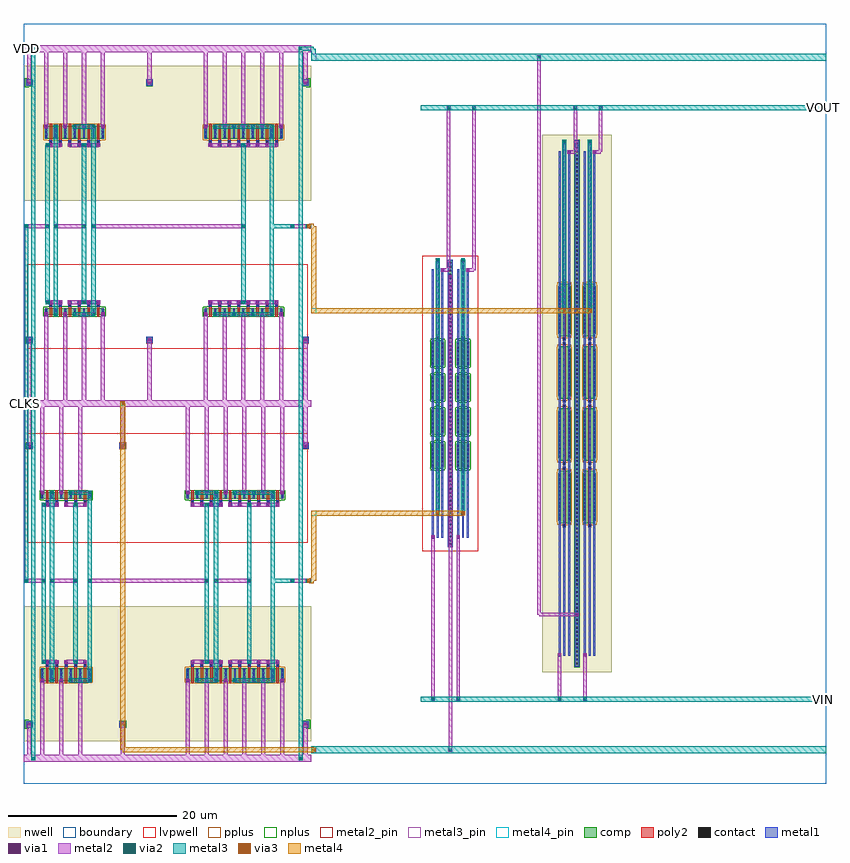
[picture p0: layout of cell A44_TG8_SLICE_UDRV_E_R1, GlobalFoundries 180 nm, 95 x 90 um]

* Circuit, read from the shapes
.subckt A44_TG8_SLICE_UDRV_E_R1 CLKS GND VDD VIN VOUT
XM1 A44_TGCLK_DRIVER_UDRV_E_R1_1/A44_TGDRV_NCLK_ROW_E_R1_0/net1 CLKS GND GND nfet_03v3 w=0.78u l=0.28u m=2
XM2 A44_TGCLK_DRIVER_UDRV_E_R1_1/A44_TGDRV_PCLK_ROW_E_R1_1/net4 CLKS GND GND nfet_03v3 w=0.78u l=0.28u m=2
XM3 A44_TGCLK_DRIVER_UDRV_E_R1_1/A44_TGDRV_NCLK_ROW_E_R1_0/net2 A44_TGCLK_DRIVER_UDRV_E_R1_1/A44_TGDRV_NCLK_ROW_E_R1_0/net1 GND GND nfet_03v3 w=0.78u l=0.28u m=3
XM4 A44_TGCLK_DRIVER_UDRV_E_R1_1/A44_TGDRV_PCLK_ROW_E_R1_1/net5 A44_TGCLK_DRIVER_UDRV_E_R1_1/A44_TGDRV_PCLK_ROW_E_R1_1/net4 GND GND nfet_03v3 w=0.78u l=0.28u m=4
XM5 A44_TGCLK_DRIVER_UDRV_E_R1_1/A44_TGDRV_NCLK_ROW_E_R1_0/net3 A44_TGCLK_DRIVER_UDRV_E_R1_1/A44_TGDRV_NCLK_ROW_E_R1_0/net2 GND GND nfet_03v3 w=0.78u l=0.28u m=4
XM6 A44_TG8_CORE_R7_0/P_CLK A44_TGCLK_DRIVER_UDRV_E_R1_1/A44_TGDRV_PCLK_ROW_E_R1_1/net5 GND GND nfet_03v3 w=0.78u l=0.28u m=8
XM7 A44_TG8_CORE_R7_0/N_CLK A44_TGCLK_DRIVER_UDRV_E_R1_1/A44_TGDRV_NCLK_ROW_E_R1_0/net3 GND GND nfet_03v3 w=0.78u l=0.28u m=6
XM8 VOUT A44_TG8_CORE_R7_0/N_CLK VIN GND nfet_03v3 w=3.11u l=0.28u m=8
XM9 A44_TGCLK_DRIVER_UDRV_E_R1_1/A44_TGDRV_NCLK_ROW_E_R1_0/net1 CLKS VDD VDD pfet_03v3 w=1.56u l=0.28u m=2
XM10 A44_TGCLK_DRIVER_UDRV_E_R1_1/A44_TGDRV_PCLK_ROW_E_R1_1/net4 CLKS VDD VDD pfet_03v3 w=1.56u l=0.28u m=2
XM11 A44_TGCLK_DRIVER_UDRV_E_R1_1/A44_TGDRV_NCLK_ROW_E_R1_0/net2 A44_TGCLK_DRIVER_UDRV_E_R1_1/A44_TGDRV_NCLK_ROW_E_R1_0/net1 VDD VDD pfet_03v3 w=1.56u l=0.28u m=3
XM12 A44_TGCLK_DRIVER_UDRV_E_R1_1/A44_TGDRV_PCLK_ROW_E_R1_1/net5 A44_TGCLK_DRIVER_UDRV_E_R1_1/A44_TGDRV_PCLK_ROW_E_R1_1/net4 VDD VDD pfet_03v3 w=1.56u l=0.28u m=4
XM13 A44_TGCLK_DRIVER_UDRV_E_R1_1/A44_TGDRV_NCLK_ROW_E_R1_0/net3 A44_TGCLK_DRIVER_UDRV_E_R1_1/A44_TGDRV_NCLK_ROW_E_R1_0/net2 VDD VDD pfet_03v3 w=1.56u l=0.28u m=4
XM14 A44_TG8_CORE_R7_0/P_CLK A44_TGCLK_DRIVER_UDRV_E_R1_1/A44_TGDRV_PCLK_ROW_E_R1_1/net5 VDD VDD pfet_03v3 w=1.56u l=0.28u m=8
XM15 A44_TG8_CORE_R7_0/N_CLK A44_TGCLK_DRIVER_UDRV_E_R1_1/A44_TGDRV_NCLK_ROW_E_R1_0/net3 VDD VDD pfet_03v3 w=1.56u l=0.28u m=6
XM16 VOUT A44_TG8_CORE_R7_0/P_CLK VIN VDD pfet_03v3 w=6.22u l=0.28u m=8
.ends

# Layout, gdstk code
import gdstk
lib = gdstk.Library(unit=1e-6, precision=1e-09)
def R(c, l, rs):  # rectangles x0, y0, x1, y1
    for r in rs: c.add(gdstk.rectangle(r[:2], r[2:], *l))
def A(c, l, x, y, w, h, nx, ny, dx, dy):  # array of equal rectangles
    R(c, l, [(x+i*dx, y+j*dy, x+i*dx+w, y+j*dy+h) for i in range(nx) for j in range(ny)])
boundary = (0, 0)
nwell = (21, 0)
comp = (22, 0)
poly2 = (30, 0)
pplus = (31, 0)
nplus = (32, 0)
contact = (33, 0)
metal1 = (34, 0)
via1 = (35, 0)
metal2 = (36, 0)
metal2_pin = (36, 10)
via2 = (38, 0)
via3 = (40, 0)
metal3 = (42, 0)
metal3_pin = (42, 10)
metal4 = (46, 0)
metal4_pin = (46, 10)
lvpwell = (204, 0)

pfet_03v3_c2l3t7 = lib.new_cell('pfet_03v3_C2L3T7')
R(pfet_03v3_c2l3t7, nwell, [(-1.17,-15.07,1.17,15.07)])
A(pfet_03v3_c2l3t7, comp, -0.74, -13.875, 1.48, 5.61, 1, 4, 0, 7.38)
R(pfet_03v3_c2l3t7, comp, [(-0.675,-14.18,0.675,-13.875), (-0.675,-8.265,0.675,-7.96), (-0.675,-6.8,0.675,-6.495), (-0.675,-0.885,0.675,-0.58), (-0.675,0.58,0.675,0.885), (-0.675,6.495,0.675,6.8), (-0.675,7.96,0.675,8.265), (-0.675,13.875,0.675,14.18)])
A(pfet_03v3_c2l3t7, poly2, -0.14, -14.28, 0.28, 6.42, 1, 4, 0, 7.38)
R(pfet_03v3_c2l3t7, poly2, [(-0.18,-14.64,0.18,-14.28), (-0.18,-7.86,0.18,-7.5), (-0.18,-7.26,0.18,-6.9), (-0.18,-0.48,0.18,-0.12), (-0.18,0.12,0.18,0.48), (-0.18,6.9,0.18,7.26), (-0.18,7.5,0.18,7.86), (-0.18,14.28,0.18,14.64)])
A(pfet_03v3_c2l3t7, pplus, -0.9, -14.035, 1.8, 5.93, 1, 4, 0, 7.38)
R(pfet_03v3_c2l3t7, pplus, [(-0.37,-14.41,0.37,-14.34), (-0.835,-14.34,0.835,-14.035), (-0.835,-8.105,0.835,-7.8), (-0.37,-7.8,0.37,-7.73), (-0.37,-7.03,0.37,-6.96), (-0.835,-6.96,0.835,-6.655), (-0.835,-0.725,0.835,-0.42), (-0.37,-0.42,0.37,-0.35), (-0.37,0.35,0.37,0.42), (-0.835,0.42,0.835,0.725), (-0.835,6.655,0.835,6.96), (-0.37,6.96,0.37,7.03), (-0.37,7.73,0.37,7.8), (-0.835,7.8,0.835,8.105), (-0.835,14.035,0.835,14.34), (-0.37,14.34,0.37,14.41)])
A(pfet_03v3_c2l3t7, contact, -0.67, -13.765, 0.22, 0.22, 1, 12, 0, 0.47)
A(pfet_03v3_c2l3t7, contact, 0.45, -13.765, 0.22, 0.22, 1, 12, 0, 0.47)
A(pfet_03v3_c2l3t7, contact, -0.67, -6.385, 0.22, 0.22, 1, 12, 0, 0.47)
A(pfet_03v3_c2l3t7, contact, 0.45, -6.385, 0.22, 0.22, 1, 12, 0, 0.47)
A(pfet_03v3_c2l3t7, contact, -0.67, 0.995, 0.22, 0.22, 1, 12, 0, 0.47)
A(pfet_03v3_c2l3t7, contact, 0.45, 0.995, 0.22, 0.22, 1, 12, 0, 0.47)
A(pfet_03v3_c2l3t7, contact, -0.67, 8.375, 0.22, 0.22, 1, 12, 0, 0.47)
A(pfet_03v3_c2l3t7, contact, 0.45, 8.375, 0.22, 0.22, 1, 12, 0, 0.47)
R(pfet_03v3_c2l3t7, contact, [(-0.11,-14.57,0.11,-14.35), (-0.11,-7.79,0.11,-7.57), (-0.11,-7.19,0.11,-6.97), (-0.11,-0.41,0.11,-0.19), (-0.11,0.19,0.11,0.41), (-0.11,6.97,0.11,7.19), (-0.11,7.57,0.11,7.79), (-0.11,14.35,0.11,14.57)])
A(pfet_03v3_c2l3t7, metal1, -0.675, -13.865, 0.23, 5.59, 1, 4, 0, 7.38)
A(pfet_03v3_c2l3t7, metal1, 0.445, -13.865, 0.23, 5.59, 1, 4, 0, 7.38)
R(pfet_03v3_c2l3t7, metal1, [(-0.17,-14.575,0.17,-14.345), (-0.17,-7.795,0.17,-7.565), (-0.17,-7.195,0.17,-6.965), (-0.17,-0.415,0.17,-0.185), (-0.17,0.185,0.17,0.415), (-0.17,6.965,0.17,7.195), (-0.17,7.565,0.17,7.795), (-0.17,14.345,0.17,14.575)])

nfet_03v3_sd8hjt = lib.new_cell('nfet_03v3_SD8HJT')
A(nfet_03v3_sd8hjt, comp, -0.74, -7.57, 1.48, 2.81, 1, 4, 0, 4.03)
R(nfet_03v3_sd8hjt, comp, [(-0.675,-7.72,0.675,-7.57), (-0.675,-4.76,0.675,-4.61), (-0.675,-3.69,0.675,-3.54), (-0.675,-0.73,0.675,-0.58), (-0.675,0.34,0.675,0.49), (-0.675,3.3,0.675,3.45), (-0.675,4.37,0.675,4.52), (-0.675,7.33,0.675,7.48)])
A(nfet_03v3_sd8hjt, poly2, -0.14, -7.94, 0.28, 3.43, 1, 4, 0, 4.03)
A(nfet_03v3_sd8hjt, poly2, -0.18, -4.51, 0.36, 0.36, 1, 4, 0, 4.03)
A(nfet_03v3_sd8hjt, nplus, -0.9, -7.73, 1.8, 3.13, 1, 4, 0, 4.03)
R(nfet_03v3_sd8hjt, nplus, [(-0.37,-7.95,0.37,-7.88), (-0.835,-7.88,0.835,-7.73), (-0.835,-4.6,0.835,-4.45), (-0.37,-4.45,0.37,-4.38), (-0.37,-3.92,0.37,-3.85), (-0.835,-3.85,0.835,-3.7), (-0.835,-0.57,0.835,-0.42), (-0.37,-0.42,0.37,-0.35), (-0.37,0.11,0.37,0.18), (-0.835,0.18,0.835,0.33), (-0.835,3.46,0.835,3.61), (-0.37,3.61,0.37,3.68), (-0.37,4.14,0.37,4.21), (-0.835,4.21,0.835,4.36), (-0.835,7.49,0.835,7.64), (-0.37,7.64,0.37,7.71)])
A(nfet_03v3_sd8hjt, contact, -0.67, -7.45, 0.22, 0.22, 1, 6, 0, 0.47)
A(nfet_03v3_sd8hjt, contact, 0.45, -7.45, 0.22, 0.22, 1, 6, 0, 0.47)
A(nfet_03v3_sd8hjt, contact, -0.11, -4.44, 0.22, 0.22, 1, 4, 0, 4.03)
A(nfet_03v3_sd8hjt, contact, -0.67, -3.42, 0.22, 0.22, 1, 6, 0, 0.47)
A(nfet_03v3_sd8hjt, contact, 0.45, -3.42, 0.22, 0.22, 1, 6, 0, 0.47)
A(nfet_03v3_sd8hjt, contact, -0.67, 0.61, 0.22, 0.22, 1, 6, 0, 0.47)
A(nfet_03v3_sd8hjt, contact, 0.45, 0.61, 0.22, 0.22, 1, 6, 0, 0.47)
A(nfet_03v3_sd8hjt, contact, -0.67, 4.64, 0.22, 0.22, 1, 6, 0, 0.47)
A(nfet_03v3_sd8hjt, contact, 0.45, 4.64, 0.22, 0.22, 1, 6, 0, 0.47)
A(nfet_03v3_sd8hjt, metal1, -0.675, -7.56, 0.23, 2.79, 1, 4, 0, 4.03)
A(nfet_03v3_sd8hjt, metal1, 0.445, -7.56, 0.23, 2.79, 1, 4, 0, 4.03)
A(nfet_03v3_sd8hjt, metal1, -0.17, -4.445, 0.34, 0.23, 1, 4, 0, 4.03)
R(nfet_03v3_sd8hjt, lvpwell, [(-0.86,-8.06,0.86,8.06)])

a44_tg8_core_r7 = lib.new_cell('A44_TG8_CORE_R7')
R(a44_tg8_core_r7, boundary, [(0,0,61,90)])
R(a44_tg8_core_r7, nwell, [(27.4,13.2,35.6,76.8)])
R(a44_tg8_core_r7, comp, [(31.22,13.8,31.78,76.2), (16.22,28,16.78,62)])
R(a44_tg8_core_r7, pplus, [(16.195,27.975,16.805,62.025)])
R(a44_tg8_core_r7, nplus, [(31.195,13.775,31.805,76.225)])
A(a44_tg8_core_r7, contact, 31.39, 14.105, 0.22, 0.22, 1, 132, 0, 0.47)
A(a44_tg8_core_r7, contact, 16.39, 28.205, 0.22, 0.22, 1, 72, 0, 0.47)
R(a44_tg8_core_r7, metal1, [(31.22,13.8,31.78,76.2), (29.24,15,29.64,15.4), (32.24,15,32.64,15.4), (29.885,15.1,30.115,75.8), (30.445,15.1,30.675,74.6), (32.885,15.1,33.115,75.8), (33.445,15.1,33.675,74.6), (29.325,15.4,29.555,74.9), (32.325,15.4,32.555,74.9), (16.22,28,16.78,62), (14.24,29,14.64,29.4), (17.24,29,17.64,29.4), (14.885,29.1,15.115,61.8), (15.445,29.1,15.675,60.6), (17.885,29.1,18.115,61.8), (18.445,29.1,18.675,60.6), (14.325,29.4,14.555,60.9), (17.325,29.4,17.555,60.9), (15.36,60.6,15.76,61), (18.36,60.6,18.76,61), (14.8,61.8,15.2,62.2), (17.8,61.8,18.2,62.2), (30.36,74.6,30.76,75), (33.36,74.6,33.76,75), (29.8,75.8,30.2,76.2), (32.8,75.8,33.2,76.2)])
R(a44_tg8_core_r7, via1, [(29.31,15.07,29.57,15.33), (32.31,15.07,32.57,15.33), (31.37,19.87,31.63,20.13), (14.31,29.07,14.57,29.33), (17.31,29.07,17.57,29.33), (16.37,59.87,16.63,60.13), (15.43,60.67,15.69,60.93), (18.43,60.67,18.69,60.93), (14.87,61.87,15.13,62.13), (17.87,61.87,18.13,62.13), (30.43,74.67,30.69,74.93), (33.43,74.67,33.69,74.93), (29.87,75.87,30.13,76.13), (32.87,75.87,33.13,76.13)])
R(a44_tg8_core_r7, metal2, [(16.28,3.78,16.72,4.22), (16.3,4.22,16.7,60.2), (14.22,9.78,14.66,10.22), (17.22,9.78,17.66,10.22), (29.22,9.78,29.66,10.22), (32.22,9.78,32.66,10.22), (14.24,10.22,14.64,29.4), (17.24,10.22,17.64,29.4), (29.24,10.22,29.64,15.4), (32.24,10.22,32.64,15.4), (27,19.8,31.7,20), (26.8,20,31.7,20.2), (26.8,20.2,27.2,85.78), (15.36,60.6,16.3,60.8), (18.36,60.6,19.3,60.8), (15.36,60.8,16.5,61), (18.36,60.8,19.5,61), (16.1,61,16.5,79.78), (19.1,61,19.5,79.78), (14.78,61.78,15.22,62.22), (17.78,61.78,18.22,62.22), (30.36,74.6,31.3,74.8), (33.36,74.6,34.3,74.8), (30.36,74.8,31.5,75), (33.36,74.8,34.5,75), (31.1,75,31.5,79.78), (34.1,75,34.5,79.78), (29.78,75.78,30.22,76.22), (32.78,75.78,33.22,76.22), (16.08,79.78,16.52,80.22), (19.08,79.78,19.52,80.22), (31.08,79.78,31.52,80.22), (34.08,79.78,34.52,80.22), (26.78,85.78,27.22,86.22)])
R(a44_tg8_core_r7, via2, [(16.37,3.87,16.63,4.13), (14.31,9.87,14.57,10.13), (17.31,9.87,17.57,10.13), (29.31,9.87,29.57,10.13), (32.31,9.87,32.57,10.13), (14.87,61.87,15.13,62.13), (17.87,61.87,18.13,62.13), (29.87,75.87,30.13,76.13), (32.87,75.87,33.13,76.13), (16.17,79.87,16.43,80.13), (19.17,79.87,19.43,80.13), (31.17,79.87,31.43,80.13), (34.17,79.87,34.43,80.13), (26.87,85.87,27.13,86.13)])
R(a44_tg8_core_r7, via3, [(14.87,31.87,15.13,32.13), (17.87,31.87,18.13,32.13), (29.87,55.87,30.13,56.13), (32.87,55.87,33.13,56.13)])
R(a44_tg8_core_r7, metal3, [(0,3.6,61,4.4), (13,9.7,61,10.3), (14.75,31.75,15.25,62), (17.75,31.75,18.25,62), (29.75,55.75,30.25,76), (32.75,55.75,33.25,76), (14.78,62,15.22,62.22), (17.78,62,18.22,62.22), (29.78,76,30.22,76.22), (32.78,76,33.22,76.22), (13,79.7,61,80.3), (0,85.6,61,86.4)])
R(a44_tg8_core_r7, metal3_pin, [(0,3.6,0.6,4.4), (60.4,9.7,61,10.3), (60.4,79.7,61,80.3), (0,85.6,0.6,86.4)])
R(a44_tg8_core_r7, metal4, [(0,31.7,18,31.75), (0,31.75,18.25,32.25), (0,32.25,18,32.3), (0,55.7,33,55.75), (0,55.75,33.25,56.25), (0,56.25,33,56.3)])
R(a44_tg8_core_r7, metal4_pin, [(0,31.7,0.6,32.3), (0,55.7,0.6,56.3)])
R(a44_tg8_core_r7, lvpwell, [(13.2,27.5,19.8,62.5)])
a44_tg8_core_r7.add(gdstk.Reference(pfet_03v3_c2l3t7, (33,45)))
a44_tg8_core_r7.add(gdstk.Reference(pfet_03v3_c2l3t7, (30,45)))
a44_tg8_core_r7.add(gdstk.Reference(nfet_03v3_sd8hjt, (18,45)))
a44_tg8_core_r7.add(gdstk.Reference(nfet_03v3_sd8hjt, (15,45)))
a44_tg8_core_r7.add(gdstk.Label('VDD', (0.3,86), layer=42, texttype=10))
a44_tg8_core_r7.add(gdstk.Label('GND', (0.3,4), layer=42, texttype=10))
a44_tg8_core_r7.add(gdstk.Label('VOUT', (60.7,80), layer=42, texttype=10))
a44_tg8_core_r7.add(gdstk.Label('VIN', (60.7,10), layer=42, texttype=10))
a44_tg8_core_r7.add(gdstk.Label('N_CLK', (0.3,32), layer=46, texttype=10))
a44_tg8_core_r7.add(gdstk.Label('P_CLK', (0.3,56), layer=46, texttype=10))

pfet_03v3_pucbrs = lib.new_cell('pfet_03v3_PUCBRS')
R(pfet_03v3_pucbrs, nwell, [(-6.21,-1.55,6.21,1.55)])
R(pfet_03v3_pucbrs, comp, [(-5.715,-0.9,5.715,-0.83), (-5.78,-0.83,5.78,0.59), (-5.715,0.59,5.715,0.66)])
A(pfet_03v3_pucbrs, poly2, -5.18, -1.12, 0.28, 1.88, 10, 1, 1.12, 0)
A(pfet_03v3_pucbrs, poly2, -5.22, 0.76, 0.36, 0.36, 10, 1, 1.12, 0)
R(pfet_03v3_pucbrs, pplus, [(-5.41,-1.13,5.41,-1.06), (-5.875,-1.06,5.875,-0.99), (-5.94,-0.99,5.94,0.75), (-5.875,0.75,5.875,0.82), (-5.41,0.82,5.41,0.89)])
A(pfet_03v3_pucbrs, contact, -5.71, -0.7, 0.22, 0.22, 11, 3, 1.12, 0.47)
A(pfet_03v3_pucbrs, contact, -5.15, 0.83, 0.22, 0.22, 10, 1, 1.12, 0)
A(pfet_03v3_pucbrs, metal1, -5.715, -0.82, 0.23, 1.4, 11, 1, 1.12, 0)
A(pfet_03v3_pucbrs, metal1, -5.21, 0.825, 0.34, 0.23, 10, 1, 1.12, 0)

nfet_03v3_ytq48t = lib.new_cell('nfet_03v3_YTQ48T')
R(nfet_03v3_ytq48t, comp, [(-5.715,-0.27,5.715,-0.24), (-5.78,-0.24,5.78,0.48), (-5.715,0.48,5.715,0.51)])
A(nfet_03v3_ytq48t, poly2, -5.22, -0.73, 0.36, 0.36, 10, 1, 1.12, 0)
A(nfet_03v3_ytq48t, poly2, -5.18, -0.37, 0.28, 1.1, 10, 1, 1.12, 0)
R(nfet_03v3_ytq48t, nplus, [(-5.41,-0.5,5.41,-0.43), (-5.875,-0.43,5.875,-0.4), (-5.94,-0.4,5.94,0.64), (-5.875,0.64,5.875,0.67), (-5.41,0.67,5.41,0.74)])
A(nfet_03v3_ytq48t, contact, -5.15, -0.66, 0.22, 0.22, 10, 1, 1.12, 0)
A(nfet_03v3_ytq48t, contact, -5.71, 0.01, 0.22, 0.22, 11, 1, 1.12, 0)
A(nfet_03v3_ytq48t, metal1, -5.21, -0.665, 0.34, 0.23, 10, 1, 1.12, 0)
A(nfet_03v3_ytq48t, metal1, -5.715, -0.23, 0.23, 0.7, 11, 1, 1.12, 0)
R(nfet_03v3_ytq48t, lvpwell, [(-5.9,-0.85,5.9,0.85)])

pfet_03v3_ttayz7 = lib.new_cell('pfet_03v3_TTAYZ7')
R(pfet_03v3_ttayz7, nwell, [(-3.41,-1.55,3.41,1.55)])
R(pfet_03v3_ttayz7, comp, [(-2.915,-0.9,2.915,-0.83), (-2.98,-0.83,2.98,0.59), (-2.915,0.59,2.915,0.66)])
A(pfet_03v3_ttayz7, poly2, -2.38, -1.12, 0.28, 1.88, 5, 1, 1.12, 0)
A(pfet_03v3_ttayz7, poly2, -2.42, 0.76, 0.36, 0.36, 5, 1, 1.12, 0)
R(pfet_03v3_ttayz7, pplus, [(-2.61,-1.13,2.61,-1.06), (-3.075,-1.06,3.075,-0.99), (-3.14,-0.99,3.14,0.75), (-3.075,0.75,3.075,0.82), (-2.61,0.82,2.61,0.89)])
A(pfet_03v3_ttayz7, contact, -2.91, -0.7, 0.22, 0.22, 6, 3, 1.12, 0.47)
A(pfet_03v3_ttayz7, contact, -2.35, 0.83, 0.22, 0.22, 5, 1, 1.12, 0)
A(pfet_03v3_ttayz7, metal1, -2.915, -0.82, 0.23, 1.4, 6, 1, 1.12, 0)
A(pfet_03v3_ttayz7, metal1, -2.41, 0.825, 0.34, 0.23, 5, 1, 1.12, 0)

nfet_03v3_ytz44f = lib.new_cell('nfet_03v3_YTZ44F')
R(nfet_03v3_ytz44f, comp, [(-2.915,-0.27,2.915,-0.24), (-2.98,-0.24,2.98,0.48), (-2.915,0.48,2.915,0.51)])
A(nfet_03v3_ytz44f, poly2, -2.42, -0.73, 0.36, 0.36, 5, 1, 1.12, 0)
A(nfet_03v3_ytz44f, poly2, -2.38, -0.37, 0.28, 1.1, 5, 1, 1.12, 0)
R(nfet_03v3_ytz44f, nplus, [(-2.61,-0.5,2.61,-0.43), (-3.075,-0.43,3.075,-0.4), (-3.14,-0.4,3.14,0.64), (-3.075,0.64,3.075,0.67), (-2.61,0.67,2.61,0.74)])
A(nfet_03v3_ytz44f, contact, -2.35, -0.66, 0.22, 0.22, 5, 1, 1.12, 0)
A(nfet_03v3_ytz44f, contact, -2.91, 0.01, 0.22, 0.22, 6, 1, 1.12, 0)
A(nfet_03v3_ytz44f, metal1, -2.41, -0.665, 0.34, 0.23, 5, 1, 1.12, 0)
A(nfet_03v3_ytz44f, metal1, -2.915, -0.23, 0.23, 0.7, 6, 1, 1.12, 0)
R(nfet_03v3_ytz44f, lvpwell, [(-3.1,-0.85,3.1,0.85)])

a44_tgdrv_nclk_row_e_r1 = lib.new_cell('A44_TGDRV_NCLK_ROW_E_R1')
R(a44_tgdrv_nclk_row_e_r1, boundary, [(0,0,34,90)])
R(a44_tgdrv_nclk_row_e_r1, nwell, [(0,5,34,21)])
R(a44_tgdrv_nclk_row_e_r1, comp, [(0.27,6.62,1.03,7.38), (11.31,6.62,12.07,7.38), (32.97,6.62,33.73,7.38), (0.27,39.62,1.03,40.38), (11.31,39.62,12.07,40.38), (32.97,39.62,33.73,40.38)])
R(a44_tgdrv_nclk_row_e_r1, pplus, [(0.245,39.595,1.055,40.405), (11.285,39.595,12.095,40.405), (32.945,39.595,33.755,40.405)])
R(a44_tgdrv_nclk_row_e_r1, nplus, [(0.11,6.46,0.59,6.595), (33.41,6.46,33.89,6.595), (0.11,6.595,1.055,7.405), (11.285,6.595,12.095,7.405), (32.945,6.595,33.89,7.405), (0.11,7.405,0.59,7.54), (33.41,7.405,33.89,7.54)])
R(a44_tgdrv_nclk_row_e_r1, contact, [(0.54,6.89,0.76,7.11), (11.58,6.89,11.8,7.11), (33.24,6.89,33.46,7.11), (0.54,39.89,0.76,40.11), (11.58,39.89,11.8,40.11), (33.24,39.89,33.46,40.11)])
A(a44_tgdrv_nclk_row_e_r1, metal1, 1.98, 11.99, 0.44, 0.44, 6, 2, 1.12, 22.235)
A(a44_tgdrv_nclk_row_e_r1, metal1, 19.18, 11.99, 0.44, 0.44, 11, 2, 1.12, 22.235)
A(a44_tgdrv_nclk_row_e_r1, metal1, 2.59, 13.94, 0.34, 0.24, 5, 1, 1.12, 0)
A(a44_tgdrv_nclk_row_e_r1, metal1, 19.79, 13.94, 0.34, 0.24, 10, 1, 1.12, 0)
A(a44_tgdrv_nclk_row_e_r1, metal1, 2.54, 14.18, 0.44, 0.44, 5, 2, 1.12, 18.6)
A(a44_tgdrv_nclk_row_e_r1, metal1, 19.74, 14.18, 0.44, 0.44, 10, 2, 1.12, 18.6)
A(a44_tgdrv_nclk_row_e_r1, metal1, 2.59, 33.22, 0.34, 0.23, 5, 1, 1.12, 0)
A(a44_tgdrv_nclk_row_e_r1, metal1, 19.79, 33.22, 0.34, 0.23, 10, 1, 1.12, 0)
R(a44_tgdrv_nclk_row_e_r1, metal1, [(0.27,6.62,1.03,7.38), (11.31,6.62,12.07,7.38), (32.97,6.62,33.73,7.38), (0.27,39.62,1.03,40.38), (11.31,39.62,12.07,40.38), (32.97,39.62,33.73,40.38)])
A(a44_tgdrv_nclk_row_e_r1, via1, 2.07, 12.08, 0.26, 0.26, 6, 2, 1.12, 22.235)
A(a44_tgdrv_nclk_row_e_r1, via1, 19.27, 12.08, 0.26, 0.26, 11, 2, 1.12, 22.235)
A(a44_tgdrv_nclk_row_e_r1, via1, 2.63, 14.27, 0.26, 0.26, 5, 2, 1.12, 18.6)
A(a44_tgdrv_nclk_row_e_r1, via1, 19.83, 14.27, 0.26, 0.26, 10, 2, 1.12, 18.6)
R(a44_tgdrv_nclk_row_e_r1, via1, [(0.52,6.87,0.78,7.13), (11.56,6.87,11.82,7.13), (33.22,6.87,33.48,7.13), (0.52,39.87,0.78,40.13), (11.56,39.87,11.82,40.13), (33.22,39.87,33.48,40.13)])
A(a44_tgdrv_nclk_row_e_r1, metal2, 1.96, 3.4, 0.48, 8.81, 3, 1, 2.24, 0)
A(a44_tgdrv_nclk_row_e_r1, metal2, 19.16, 3.4, 0.48, 8.81, 6, 1, 2.24, 0)
A(a44_tgdrv_nclk_row_e_r1, metal2, 3.08, 11.97, 0.48, 0.48, 3, 2, 2.24, 22.235)
A(a44_tgdrv_nclk_row_e_r1, metal2, 20.28, 11.97, 0.48, 0.48, 5, 2, 2.24, 22.235)
A(a44_tgdrv_nclk_row_e_r1, metal2, 1.98, 12.21, 0.44, 0.22, 3, 2, 2.24, 22.015)
A(a44_tgdrv_nclk_row_e_r1, metal2, 19.18, 12.21, 0.44, 0.22, 6, 2, 2.24, 22.015)
A(a44_tgdrv_nclk_row_e_r1, metal2, 1.96, 34.445, 0.48, 10.155, 3, 1, 2.24, 0)
A(a44_tgdrv_nclk_row_e_r1, metal2, 19.16, 34.445, 0.48, 10.155, 6, 1, 2.24, 0)
R(a44_tgdrv_nclk_row_e_r1, metal2, [(0,2.6,34,3.4), (0.41,3.4,0.89,7), (11.45,3.4,11.93,7), (33.11,3.4,33.59,7), (0.43,7,0.87,7.22), (11.47,7,11.91,7.22), (33.13,7,33.57,7.22), (2.12,14.16,3.88,14.18), (5,14.16,7.24,14.18), (19.96,14.16,23.32,14.18), (24.44,14.16,30.04,14.18), (2.12,14.18,4.1,14.62), (4.78,14.18,7.46,14.62), (19.74,14.18,23.54,14.62), (24.22,14.18,30.26,14.62), (2.12,14.62,3.88,14.64), (5,14.62,7.24,14.64), (19.96,14.62,23.32,14.64), (24.44,14.62,30.04,14.64), (1.6,23.76,2.6,24.24), (3.08,23.76,6.36,24.24), (7.56,23.76,21.88,24.24), (22.52,23.76,26.92,24.24), (2.12,32.76,3.88,32.78), (5,32.76,7.24,32.78), (19.96,32.76,23.32,32.78), (24.44,32.76,30.04,32.78), (2.12,32.78,4.1,33.22), (4.78,32.78,7.46,33.22), (19.74,32.78,23.54,33.22), (24.22,32.78,30.26,33.22), (2.12,33.22,3.88,33.24), (5,33.22,7.24,33.24), (19.96,33.22,23.32,33.24), (24.44,33.22,30.04,33.24), (0.43,39.78,0.87,40), (11.47,39.78,11.91,40), (33.13,39.78,33.57,40), (0.41,40,0.89,44.6), (11.45,40,11.93,44.6), (33.11,40,33.59,44.6), (0,44.6,34,45.4)])
A(a44_tgdrv_nclk_row_e_r1, via2, 3.19, 12.08, 0.26, 0.26, 3, 2, 2.24, 22.235)
A(a44_tgdrv_nclk_row_e_r1, via2, 20.39, 12.08, 0.26, 0.26, 5, 2, 2.24, 22.235)
R(a44_tgdrv_nclk_row_e_r1, via2, [(2.23,14.27,2.49,14.53), (5.99,14.27,6.25,14.53), (21.51,14.27,21.77,14.53), (26.55,14.27,26.81,14.53), (2.23,23.87,2.49,24.13), (3.19,23.87,3.45,24.13), (5.99,23.87,6.25,24.13), (7.67,23.87,7.93,24.13), (21.51,23.87,21.77,24.13), (22.63,23.87,22.89,24.13), (26.55,23.87,26.81,24.13), (2.23,32.87,2.49,33.13), (5.99,32.87,6.25,33.13), (21.51,32.87,21.77,33.13), (26.55,32.87,26.81,33.13)])
R(a44_tgdrv_nclk_row_e_r1, metal3, [(5.56,11.96,7.8,11.97), (20.52,11.96,22.76,11.97), (25,11.96,29.48,11.97), (3.08,11.97,3.56,12.21), (5.32,11.97,8.04,12.21), (20.28,11.97,23,12.21), (24.76,11.97,29.72,12.21), (3.07,12.21,3.57,34.445), (5.32,12.21,8.05,12.45), (20.28,12.21,23.01,12.45), (24.76,12.21,29.73,12.45), (5.56,12.45,8.05,12.46), (20.52,12.45,23.01,12.46), (25,12.45,29.73,12.46), (7.55,12.46,8.05,34.195), (22.51,12.46,23.01,34.195), (29.23,12.46,29.73,23.75), (2.12,14.16,2.6,14.4), (5.88,14.16,6.36,14.4), (21.4,14.16,21.88,14.4), (26.44,14.16,26.92,14.4), (2.11,14.4,2.61,33), (5.87,14.4,6.37,33), (21.39,14.4,21.89,33), (26.43,14.4,26.93,33), (29.23,23.75,31.8,24.25), (29.23,24.25,29.73,34.195), (2.12,33,2.6,33.24), (5.88,33,6.36,33.24), (21.4,33,21.88,33.24), (26.44,33,26.92,33.24), (5.56,34.195,8.05,34.205), (20.52,34.195,23.01,34.205), (25,34.195,29.73,34.205), (5.32,34.205,8.05,34.445), (20.28,34.205,23.01,34.445), (24.76,34.205,29.73,34.445), (3.08,34.445,3.56,34.685), (5.32,34.445,8.04,34.685), (20.28,34.445,23,34.685), (24.76,34.445,29.72,34.685), (5.56,34.685,7.8,34.695), (20.52,34.685,22.76,34.695), (25,34.685,29.48,34.695)])
R(a44_tgdrv_nclk_row_e_r1, lvpwell, [(0.4,28.5,33.6,41.5)])
a44_tgdrv_nclk_row_e_r1.add(gdstk.Reference(pfet_03v3_pucbrs, (25,13)))
a44_tgdrv_nclk_row_e_r1.add(gdstk.Reference(nfet_03v3_ytq48t, (25,34)))
a44_tgdrv_nclk_row_e_r1.add(gdstk.Reference(pfet_03v3_ttayz7, (5,13)))
a44_tgdrv_nclk_row_e_r1.add(gdstk.Reference(nfet_03v3_ytz44f, (5,34)))
a44_tgdrv_nclk_row_e_r1.add(gdstk.Label('net1', (4.72,24), layer=36, texttype=0))
a44_tgdrv_nclk_row_e_r1.add(gdstk.Label('net2', (14.72,24), layer=36, texttype=0))
a44_tgdrv_nclk_row_e_r1.add(gdstk.Label('net3', (24.72,24), layer=36, texttype=0))
a44_tgdrv_nclk_row_e_r1.add(gdstk.Label('CLKS', (1.65,24), layer=36, texttype=0))
a44_tgdrv_nclk_row_e_r1.add(gdstk.Label('VDD', (17,3), layer=36, texttype=0))
a44_tgdrv_nclk_row_e_r1.add(gdstk.Label('GND', (17,45), layer=36, texttype=0))
a44_tgdrv_nclk_row_e_r1.add(gdstk.Label('CLKS', (2.36,23.7), layer=42, texttype=0))
a44_tgdrv_nclk_row_e_r1.add(gdstk.Label('net1', (3.32,23.325), layer=42, texttype=0))
a44_tgdrv_nclk_row_e_r1.add(gdstk.Label('net1', (6.12,23.7), layer=42, texttype=0))
a44_tgdrv_nclk_row_e_r1.add(gdstk.Label('net2', (7.8,23.325), layer=42, texttype=0))
a44_tgdrv_nclk_row_e_r1.add(gdstk.Label('net2', (21.64,23.7), layer=42, texttype=0))
a44_tgdrv_nclk_row_e_r1.add(gdstk.Label('net3', (22.76,23.325), layer=42, texttype=0))
a44_tgdrv_nclk_row_e_r1.add(gdstk.Label('net3', (26.68,23.7), layer=42, texttype=0))
a44_tgdrv_nclk_row_e_r1.add(gdstk.Label('N_CLK', (29.48,23.325), layer=42, texttype=0))
a44_tgdrv_nclk_row_e_r1.add(gdstk.Label('N_CLK', (31.75,24), layer=42, texttype=0))

pfet_03v3_fkha32 = lib.new_cell('pfet_03v3_FKHA32')
R(pfet_03v3_fkha32, nwell, [(-5.09,-1.55,5.09,1.55)])
R(pfet_03v3_fkha32, comp, [(-4.595,-0.66,4.595,-0.59), (-4.66,-0.59,4.66,0.83), (-4.595,0.83,4.595,0.9)])
A(pfet_03v3_fkha32, poly2, -4.1, -1.12, 0.36, 0.36, 8, 1, 1.12, 0)
A(pfet_03v3_fkha32, poly2, -4.06, -0.76, 0.28, 1.88, 8, 1, 1.12, 0)
R(pfet_03v3_fkha32, pplus, [(-4.29,-0.89,4.29,-0.82), (-4.755,-0.82,4.755,-0.75), (-4.82,-0.75,4.82,0.99), (-4.755,0.99,4.755,1.06), (-4.29,1.06,4.29,1.13)])
A(pfet_03v3_fkha32, contact, -4.03, -1.05, 0.22, 0.22, 8, 1, 1.12, 0)
A(pfet_03v3_fkha32, contact, -4.59, -0.46, 0.22, 0.22, 9, 3, 1.12, 0.47)
A(pfet_03v3_fkha32, metal1, -4.09, -1.055, 0.34, 0.23, 8, 1, 1.12, 0)
A(pfet_03v3_fkha32, metal1, -4.595, -0.58, 0.23, 1.4, 9, 1, 1.12, 0)

nfet_03v3_ge79xy = lib.new_cell('nfet_03v3_GE79XY')
R(nfet_03v3_ge79xy, comp, [(-4.595,-0.51,4.595,-0.48), (-4.66,-0.48,4.66,0.24), (-4.595,0.24,4.595,0.27)])
A(nfet_03v3_ge79xy, poly2, -4.06, -0.73, 0.28, 1.1, 8, 1, 1.12, 0)
A(nfet_03v3_ge79xy, poly2, -4.1, 0.37, 0.36, 0.36, 8, 1, 1.12, 0)
R(nfet_03v3_ge79xy, nplus, [(-4.29,-0.74,4.29,-0.67), (-4.755,-0.67,4.755,-0.64), (-4.82,-0.64,4.82,0.4), (-4.755,0.4,4.755,0.43), (-4.29,0.43,4.29,0.5)])
A(nfet_03v3_ge79xy, contact, -4.59, -0.23, 0.22, 0.22, 9, 1, 1.12, 0)
A(nfet_03v3_ge79xy, contact, -4.03, 0.44, 0.22, 0.22, 8, 1, 1.12, 0)
A(nfet_03v3_ge79xy, metal1, -4.595, -0.47, 0.23, 0.7, 9, 1, 1.12, 0)
A(nfet_03v3_ge79xy, metal1, -4.09, 0.435, 0.34, 0.23, 8, 1, 1.12, 0)
R(nfet_03v3_ge79xy, lvpwell, [(-4.78,-0.85,4.78,0.85)])

pfet_03v3_x2n4nu = lib.new_cell('pfet_03v3_X2N4NU')
R(pfet_03v3_x2n4nu, nwell, [(-3.97,-1.55,3.97,1.55)])
R(pfet_03v3_x2n4nu, comp, [(-3.475,-0.66,3.475,-0.59), (-3.54,-0.59,3.54,0.83), (-3.475,0.83,3.475,0.9)])
A(pfet_03v3_x2n4nu, poly2, -2.98, -1.12, 0.36, 0.36, 6, 1, 1.12, 0)
A(pfet_03v3_x2n4nu, poly2, -2.94, -0.76, 0.28, 1.88, 6, 1, 1.12, 0)
R(pfet_03v3_x2n4nu, pplus, [(-3.17,-0.89,3.17,-0.82), (-3.635,-0.82,3.635,-0.75), (-3.7,-0.75,3.7,0.99), (-3.635,0.99,3.635,1.06), (-3.17,1.06,3.17,1.13)])
A(pfet_03v3_x2n4nu, contact, -2.91, -1.05, 0.22, 0.22, 6, 1, 1.12, 0)
A(pfet_03v3_x2n4nu, contact, -3.47, -0.46, 0.22, 0.22, 7, 3, 1.12, 0.47)
A(pfet_03v3_x2n4nu, metal1, -2.97, -1.055, 0.34, 0.23, 6, 1, 1.12, 0)
A(pfet_03v3_x2n4nu, metal1, -3.475, -0.58, 0.23, 1.4, 7, 1, 1.12, 0)

nfet_03v3_9hsg6m = lib.new_cell('nfet_03v3_9HSG6M')
R(nfet_03v3_9hsg6m, comp, [(-3.475,-0.51,3.475,-0.48), (-3.54,-0.48,3.54,0.24), (-3.475,0.24,3.475,0.27)])
A(nfet_03v3_9hsg6m, poly2, -2.94, -0.73, 0.28, 1.1, 6, 1, 1.12, 0)
A(nfet_03v3_9hsg6m, poly2, -2.98, 0.37, 0.36, 0.36, 6, 1, 1.12, 0)
R(nfet_03v3_9hsg6m, nplus, [(-3.17,-0.74,3.17,-0.67), (-3.635,-0.67,3.635,-0.64), (-3.7,-0.64,3.7,0.4), (-3.635,0.4,3.635,0.43), (-3.17,0.43,3.17,0.5)])
A(nfet_03v3_9hsg6m, contact, -3.47, -0.23, 0.22, 0.22, 7, 1, 1.12, 0)
A(nfet_03v3_9hsg6m, contact, -2.91, 0.44, 0.22, 0.22, 6, 1, 1.12, 0)
A(nfet_03v3_9hsg6m, metal1, -3.475, -0.47, 0.23, 0.7, 7, 1, 1.12, 0)
A(nfet_03v3_9hsg6m, metal1, -2.97, 0.435, 0.34, 0.23, 6, 1, 1.12, 0)
R(nfet_03v3_9hsg6m, lvpwell, [(-3.66,-0.85,3.66,0.85)])

a44_tgdrv_pclk_row_e_r1 = lib.new_cell('A44_TGDRV_PCLK_ROW_E_R1')
R(a44_tgdrv_pclk_row_e_r1, boundary, [(0,0,34,90)])
R(a44_tgdrv_pclk_row_e_r1, nwell, [(0,69,34,85)])
R(a44_tgdrv_pclk_row_e_r1, comp, [(0.27,52.12,1.03,52.88), (14.495,52.12,15.255,52.88), (32.97,52.12,33.73,52.88), (0.27,82.62,1.03,83.38), (14.495,82.62,15.255,83.38), (32.97,82.62,33.73,83.38)])
R(a44_tgdrv_pclk_row_e_r1, pplus, [(0.245,52.095,1.055,52.905), (14.47,52.095,15.28,52.905), (32.945,52.095,33.755,52.905)])
R(a44_tgdrv_pclk_row_e_r1, nplus, [(0.11,82.46,0.59,82.595), (33.41,82.46,33.89,82.595), (0.11,82.595,1.055,83.405), (14.47,82.595,15.28,83.405), (32.945,82.595,33.89,83.405), (0.11,83.405,0.59,83.54), (33.41,83.405,33.89,83.54)])
R(a44_tgdrv_pclk_row_e_r1, contact, [(0.54,52.39,0.76,52.61), (14.765,52.39,14.985,52.61), (33.24,52.39,33.46,52.61), (0.54,82.89,0.76,83.11), (14.765,82.89,14.985,83.11), (33.24,82.89,33.46,83.11)])
A(a44_tgdrv_pclk_row_e_r1, metal1, 2.42, 55.34, 0.44, 0.44, 7, 2, 1.12, 22.235)
A(a44_tgdrv_pclk_row_e_r1, metal1, 21.3, 55.34, 0.44, 0.44, 9, 2, 1.12, 22.235)
A(a44_tgdrv_pclk_row_e_r1, metal1, 3.03, 56.55, 0.34, 0.23, 6, 1, 1.12, 0)
A(a44_tgdrv_pclk_row_e_r1, metal1, 21.91, 56.55, 0.34, 0.23, 8, 1, 1.12, 0)
A(a44_tgdrv_pclk_row_e_r1, metal1, 2.98, 56.78, 0.44, 0.44, 6, 2, 1.12, 18.6)
A(a44_tgdrv_pclk_row_e_r1, metal1, 21.86, 56.78, 0.44, 0.44, 8, 2, 1.12, 18.6)
A(a44_tgdrv_pclk_row_e_r1, metal1, 3.03, 75.82, 0.34, 0.24, 6, 1, 1.12, 0)
A(a44_tgdrv_pclk_row_e_r1, metal1, 21.91, 75.82, 0.34, 0.24, 8, 1, 1.12, 0)
R(a44_tgdrv_pclk_row_e_r1, metal1, [(0.27,52.12,1.03,52.88), (14.495,52.12,15.255,52.88), (32.97,52.12,33.73,52.88), (0.27,82.62,1.03,83.38), (14.495,82.62,15.255,83.38), (32.97,82.62,33.73,83.38)])
A(a44_tgdrv_pclk_row_e_r1, via1, 2.51, 55.43, 0.26, 0.26, 7, 2, 1.12, 22.235)
A(a44_tgdrv_pclk_row_e_r1, via1, 21.39, 55.43, 0.26, 0.26, 9, 2, 1.12, 22.235)
A(a44_tgdrv_pclk_row_e_r1, via1, 3.07, 56.87, 0.26, 0.26, 6, 2, 1.12, 18.6)
A(a44_tgdrv_pclk_row_e_r1, via1, 21.95, 56.87, 0.26, 0.26, 8, 2, 1.12, 18.6)
R(a44_tgdrv_pclk_row_e_r1, via1, [(0.52,52.37,0.78,52.63), (14.745,52.37,15.005,52.63), (33.22,52.37,33.48,52.63), (0.52,82.87,0.78,83.13), (14.745,82.87,15.005,83.13), (33.22,82.87,33.48,83.13)])
A(a44_tgdrv_pclk_row_e_r1, metal2, 2.4, 45.4, 0.48, 10.16, 4, 1, 2.24, 0)
A(a44_tgdrv_pclk_row_e_r1, metal2, 21.28, 45.4, 0.48, 10.16, 5, 1, 2.24, 0)
A(a44_tgdrv_pclk_row_e_r1, metal2, 3.52, 55.32, 0.48, 0.48, 3, 2, 2.24, 22.235)
A(a44_tgdrv_pclk_row_e_r1, metal2, 22.4, 55.32, 0.48, 0.48, 4, 2, 2.24, 22.235)
A(a44_tgdrv_pclk_row_e_r1, metal2, 2.42, 55.56, 0.44, 0.22, 4, 2, 2.24, 22.015)
A(a44_tgdrv_pclk_row_e_r1, metal2, 21.3, 55.56, 0.44, 0.22, 5, 2, 2.24, 22.015)
A(a44_tgdrv_pclk_row_e_r1, metal2, 2.4, 77.795, 0.48, 8.805, 4, 1, 2.24, 0)
A(a44_tgdrv_pclk_row_e_r1, metal2, 21.28, 77.795, 0.48, 8.805, 5, 1, 2.24, 0)
R(a44_tgdrv_pclk_row_e_r1, metal2, [(0,44.6,34,45.4), (0.41,45.4,0.89,52.5), (14.635,45.4,15.115,52.5), (33.11,45.4,33.59,52.5), (0.43,52.5,0.87,52.72), (14.655,52.5,15.095,52.72), (33.13,52.5,33.57,52.72), (2.56,56.76,4.32,56.78), (5.44,56.76,8.8,56.78), (22.08,56.76,29.92,56.78), (2.56,56.78,4.54,57.22), (5.22,56.78,9.02,57.22), (21.86,56.78,30.14,57.22), (2.56,57.22,4.32,57.24), (5.44,57.22,8.8,57.24), (22.08,57.22,29.92,57.24), (1.6,65.76,3.04,66.24), (3.52,65.76,7.36,66.24), (8,65.76,26.24,66.24), (2.56,75.36,4.32,75.38), (5.44,75.36,8.8,75.38), (22.08,75.36,29.92,75.38), (2.56,75.38,4.54,75.82), (5.22,75.38,9.02,75.82), (21.86,75.38,30.14,75.82), (2.56,75.82,4.32,75.84), (5.44,75.82,8.8,75.84), (22.08,75.82,29.92,75.84), (0.43,82.78,0.87,83), (14.655,82.78,15.095,83), (33.13,82.78,33.57,83), (0.41,83,0.89,86.6), (14.635,83,15.115,86.6), (33.11,83,33.59,86.6), (0,86.6,34,87.4)])
A(a44_tgdrv_pclk_row_e_r1, via2, 3.63, 55.43, 0.26, 0.26, 3, 2, 2.24, 22.235)
A(a44_tgdrv_pclk_row_e_r1, via2, 22.51, 55.43, 0.26, 0.26, 4, 2, 2.24, 22.235)
R(a44_tgdrv_pclk_row_e_r1, via2, [(2.67,56.87,2.93,57.13), (6.99,56.87,7.25,57.13), (25.87,56.87,26.13,57.13), (2.67,65.87,2.93,66.13), (3.63,65.87,3.89,66.13), (6.99,65.87,7.25,66.13), (8.11,65.87,8.37,66.13), (25.87,65.87,26.13,66.13), (2.67,75.47,2.93,75.73), (6.99,75.47,7.25,75.73), (25.87,75.47,26.13,75.73)])
R(a44_tgdrv_pclk_row_e_r1, metal3, [(6,55.31,8.24,55.32), (22.64,55.31,29.36,55.32), (3.52,55.32,4,55.56), (5.76,55.32,8.48,55.56), (22.4,55.32,29.6,55.56), (3.51,55.56,4.01,77.795), (5.76,55.56,8.49,55.8), (22.4,55.56,29.61,55.8), (6,55.8,8.49,55.81), (22.64,55.8,29.61,55.81), (7.99,55.81,8.49,77.545), (29.11,55.81,29.61,65.75), (2.56,56.76,3.04,57), (6.88,56.76,7.36,57), (25.76,56.76,26.24,57), (2.55,57,3.05,75.6), (6.87,57,7.37,75.6), (25.75,57,26.25,75.6), (29.11,65.75,31.8,66.25), (29.11,66.25,29.61,77.545), (2.56,75.6,3.04,75.84), (6.88,75.6,7.36,75.84), (25.76,75.6,26.24,75.84), (6,77.545,8.49,77.555), (22.64,77.545,29.61,77.555), (5.76,77.555,8.49,77.795), (22.4,77.555,29.61,77.795), (3.52,77.795,4,78.035), (5.76,77.795,8.48,78.035), (22.4,77.795,29.6,78.035), (6,78.035,8.24,78.045), (22.64,78.035,29.36,78.045)])
R(a44_tgdrv_pclk_row_e_r1, lvpwell, [(0.4,51.5,33.6,61.5)])
a44_tgdrv_pclk_row_e_r1.add(gdstk.Reference(pfet_03v3_fkha32, (26,77)))
a44_tgdrv_pclk_row_e_r1.add(gdstk.Reference(nfet_03v3_ge79xy, (26,56)))
a44_tgdrv_pclk_row_e_r1.add(gdstk.Reference(pfet_03v3_x2n4nu, (6,77)))
a44_tgdrv_pclk_row_e_r1.add(gdstk.Reference(nfet_03v3_9hsg6m, (6,56)))
a44_tgdrv_pclk_row_e_r1.add(gdstk.Label('net4', (5.44,66), layer=36, texttype=0))
a44_tgdrv_pclk_row_e_r1.add(gdstk.Label('net5', (17.12,66), layer=36, texttype=0))
a44_tgdrv_pclk_row_e_r1.add(gdstk.Label('CLKS', (1.65,66), layer=36, texttype=0))
a44_tgdrv_pclk_row_e_r1.add(gdstk.Label('VDD', (17,87), layer=36, texttype=0))
a44_tgdrv_pclk_row_e_r1.add(gdstk.Label('GND', (17,45), layer=36, texttype=0))
a44_tgdrv_pclk_row_e_r1.add(gdstk.Label('CLKS', (2.8,66.3), layer=42, texttype=0))
a44_tgdrv_pclk_row_e_r1.add(gdstk.Label('net4', (3.76,66.675), layer=42, texttype=0))
a44_tgdrv_pclk_row_e_r1.add(gdstk.Label('net4', (7.12,66.3), layer=42, texttype=0))
a44_tgdrv_pclk_row_e_r1.add(gdstk.Label('net5', (8.24,66.675), layer=42, texttype=0))
a44_tgdrv_pclk_row_e_r1.add(gdstk.Label('net5', (26,66.3), layer=42, texttype=0))
a44_tgdrv_pclk_row_e_r1.add(gdstk.Label('P_CLK', (29.36,66.675), layer=42, texttype=0))
a44_tgdrv_pclk_row_e_r1.add(gdstk.Label('P_CLK', (31.75,66), layer=42, texttype=0))

a44_tgclk_driver_udrv_e_ = lib.new_cell('A44_TGCLK_DRIVER_UDRV_E_R1')
R(a44_tgclk_driver_udrv_e_, boundary, [(0,0,34,90)])
R(a44_tgclk_driver_udrv_e_, metal2, [(0.86,2.76,1.34,3.24), (32.56,2.76,33.04,3.24), (0.06,23.76,1.6,24.24), (31.56,23.76,33.84,24.24), (0,44.6,0.6,45.4), (0.06,65.76,1.6,66.24), (31.56,65.76,33.84,66.24), (0,86.6,0.6,87.4), (0.86,86.76,1.34,87.24), (32.56,86.76,33.04,87.24)])
R(a44_tgclk_driver_udrv_e_, metal2_pin, [(0,44.6,0.6,45.4), (0,86.6,0.6,87.4)])
R(a44_tgclk_driver_udrv_e_, via2, [(0.97,2.87,1.23,3.13), (32.67,2.87,32.93,3.13), (0.17,23.87,0.43,24.13), (31.67,23.87,31.93,24.13), (33.47,23.87,33.73,24.13), (0.17,65.87,0.43,66.13), (31.67,65.87,31.93,66.13), (33.47,65.87,33.73,66.13), (0.97,86.87,1.23,87.13), (32.67,86.87,32.93,87.13)])
R(a44_tgclk_driver_udrv_e_, metal3, [(0.86,2.76,1.34,3), (32.56,2.76,33.04,3), (0.85,3,1.35,87), (32.55,3,33.05,87), (33.6,23.75,34,23.76), (0.06,23.76,0.54,24.24), (31.56,23.76,32.04,24.24), (33.36,23.76,34,24.24), (0.1,24.24,0.5,44.8), (33.6,24.24,34,24.25), (0,44.8,0.5,45.2), (0.1,45.2,0.5,65.76), (33.6,65.75,34,65.76), (0.06,65.76,0.54,66.24), (31.56,65.76,32.04,66.24), (33.36,65.76,34,66.24), (33.6,66.24,34,66.25), (0.86,87,1.34,87.24), (32.56,87,33.04,87.24)])
R(a44_tgclk_driver_udrv_e_, metal3_pin, [(33.6,23.8,34,24.2), (0,44.8,0.4,45.2), (33.6,65.8,34,66.2)])
a44_tgclk_driver_udrv_e_.add(gdstk.Reference(a44_tgdrv_nclk_row_e_r1, (0,0)))
a44_tgclk_driver_udrv_e_.add(gdstk.Reference(a44_tgdrv_pclk_row_e_r1, (0,0)))
a44_tgclk_driver_udrv_e_.add(gdstk.Label('VDD', (17,3), layer=36, texttype=0))
a44_tgclk_driver_udrv_e_.add(gdstk.Label('VDD', (17,87), layer=36, texttype=0))
a44_tgclk_driver_udrv_e_.add(gdstk.Label('GND', (17,45), layer=36, texttype=0))
a44_tgclk_driver_udrv_e_.add(gdstk.Label('CLKS', (0.2,45), layer=42, texttype=10))
a44_tgclk_driver_udrv_e_.add(gdstk.Label('N_CLK', (33.8,24), layer=42, texttype=10))
a44_tgclk_driver_udrv_e_.add(gdstk.Label('P_CLK', (33.8,66), layer=42, texttype=10))
a44_tgclk_driver_udrv_e_.add(gdstk.Label('VDD', (0.3,87), layer=36, texttype=10))
a44_tgclk_driver_udrv_e_.add(gdstk.Label('GND', (0.3,45), layer=36, texttype=10))

a44_tg8_slice_udrv_e_r1 = lib.new_cell('A44_TG8_SLICE_UDRV_E_R1')
R(a44_tg8_slice_udrv_e_r1, boundary, [(0,0,95,90)])
R(a44_tg8_slice_udrv_e_r1, metal2, [(0,44.6,0.6,45.4), (11.45,44.76,11.93,45.24), (0,86.6,0.6,87.4)])
R(a44_tg8_slice_udrv_e_r1, metal2_pin, [(0,44.6,0.6,45.4), (0,86.6,0.6,87.4)])
R(a44_tg8_slice_udrv_e_r1, via2, [(11.56,44.87,11.82,45.13)])
R(a44_tg8_slice_udrv_e_r1, via3, [(34.17,3.87,34.43,4.13), (33.67,23.87,33.93,24.13), (11.56,44.87,11.82,45.13), (33.67,65.87,33.93,66.13)])
R(a44_tg8_slice_udrv_e_r1, metal3, [(34.05,3.75,34.55,4.25), (94.4,9.7,95,10.3), (33.55,23.75,34.05,24.25), (11.44,44.75,11.94,45.25), (0,44.8,0.4,45.2), (33.55,65.75,34.05,66.25), (94.4,79.7,95,80.3), (34.05,86,34.55,86.75), (32.8,86.75,34.55,87), (32.8,87,34.3,87.25)])
R(a44_tg8_slice_udrv_e_r1, metal3_pin, [(94.4,9.7,95,10.3), (0,44.8,0.4,45.2), (94.4,79.7,95,80.3)])
R(a44_tg8_slice_udrv_e_r1, metal4, [(11.69,3.7,34.3,3.75), (11.69,3.75,34.55,4), (11.39,4,34.55,4.25), (11.39,4.25,34.3,4.3), (11.39,4.3,11.99,45), (33.8,23.7,34.3,23.75), (33.55,23.75,34.3,24), (33.55,24,34.6,24.25), (33.8,24.25,34.6,24.3), (34,24.3,34.6,32), (11.44,45,11.94,45.25), (34,56,34.6,65.7), (33.8,65.7,34.6,65.75), (33.55,65.75,34.6,66), (33.55,66,34.3,66.25), (33.8,66.25,34.3,66.3)])
a44_tg8_slice_udrv_e_r1.add(gdstk.Reference(a44_tg8_core_r7, (34,0)))
a44_tg8_slice_udrv_e_r1.add(gdstk.Reference(a44_tgclk_driver_udrv_e_, (0,0)))
a44_tg8_slice_udrv_e_r1.add(gdstk.Label('CLKS', (0.2,45), layer=42, texttype=10))
a44_tg8_slice_udrv_e_r1.add(gdstk.Label('VOUT', (94.7,80), layer=42, texttype=10))
a44_tg8_slice_udrv_e_r1.add(gdstk.Label('VIN', (94.7,10), layer=42, texttype=10))
a44_tg8_slice_udrv_e_r1.add(gdstk.Label('VDD', (0.3,87), layer=36, texttype=10))
a44_tg8_slice_udrv_e_r1.add(gdstk.Label('GND', (0.3,45), layer=36, texttype=10))

lib.write_gds('A44_TG8_SLICE_UDRV_E_R1.gds')
